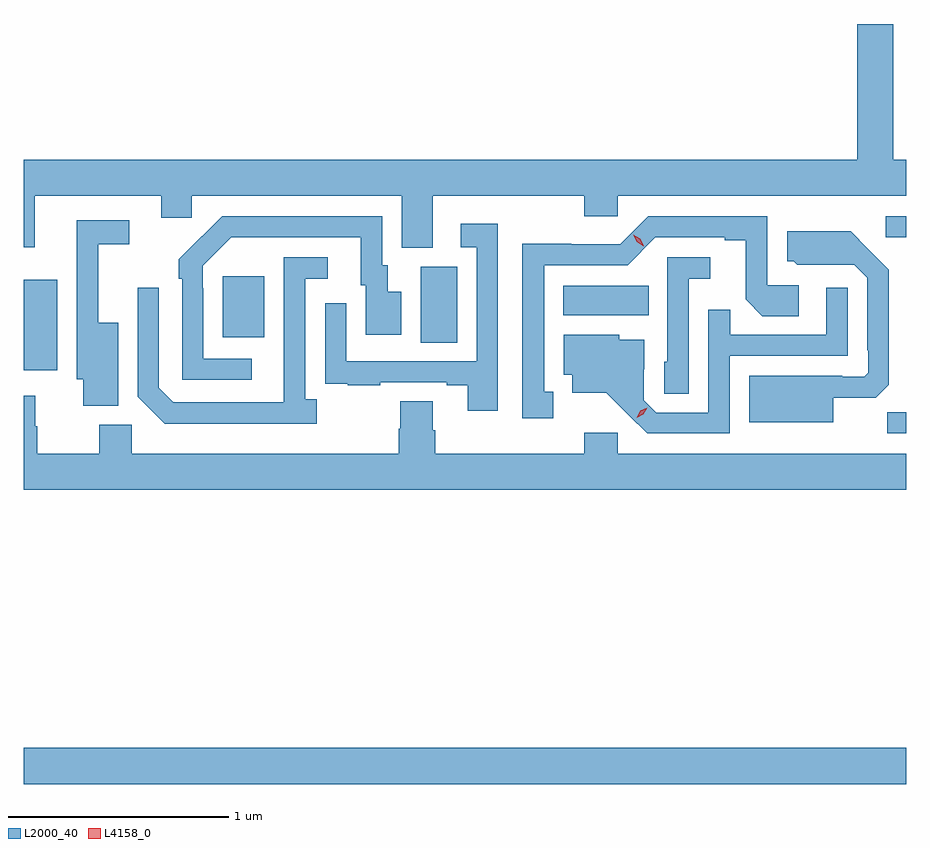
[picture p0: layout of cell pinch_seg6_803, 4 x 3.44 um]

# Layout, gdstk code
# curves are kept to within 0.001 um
import gdstk
lib = gdstk.Library(unit=1e-6, precision=1e-09)
def R(c, l, rs):  # rectangles x0, y0, x1, y1
    for r in rs: c.add(gdstk.rectangle(r[:2], r[2:], *l))
def P(c, l, *ps):  # polygons
    for p in ps: c.add(gdstk.Polygon(p, *l))
L2000_40 = (2000, 40)
L4158_0 = (4158, 0)

pinch_seg6_803 = lib.new_cell('pinch_seg6_803')
R(pinch_seg6_803, L2000_40, [(124.712,965.984,128.712,966.148), (128.626,967.572,128.712,967.667), (124.712,967.859,124.864,968.269), (126.512,967.984,126.676,968.328), (125.615,968.009,125.803,968.284), (127.157,968.108,127.544,968.242), (128.619,968.46,128.712,968.556)])
P(pinch_seg6_803, L2000_40, [(126.565,968.648),(127.253,968.648),(127.253,968.555),(127.404,968.555),(127.404,968.648),(128.712,968.648),(128.712,968.812),(128.653,968.812),(128.653,969.427),(128.489,969.427),(128.489,968.812),(124.712,968.812),(124.712,968.415),(124.763,968.415),(124.763,968.648),(125.336,968.648),(125.336,968.55),(125.475,968.55),(125.475,968.648),(126.425,968.648),(126.425,968.413),(126.565,968.413)],
  [(125.746,967.911),(125.526,967.911),(125.526,968.231),(125.523,968.231),(125.523,968.331),(125.652,968.46),(126.239,968.46),(126.239,968.244),(126.263,968.244),(126.263,968.019),(126.424,968.019),(126.424,968.215),(126.361,968.215),(126.361,968.334),(126.336,968.334),(126.336,968.556),(125.612,968.556),(125.415,968.361),(125.415,968.273),(125.43,968.273),(125.43,967.815),(125.746,967.815)],
  [(127.111,967.761),(127.072,967.761),(127.072,968.334),(127.449,968.334),(127.575,968.46),(127.889,968.46),(127.889,968.448),(127.983,968.448),(127.983,968.18),(128.059,968.104),(128.224,968.104),(128.224,968.244),(128.082,968.244),(128.082,968.556),(127.542,968.556),(127.416,968.43),(127.194,968.43),(127.194,968.432),(126.971,968.432),(126.971,967.641),(127.111,967.641)],
  [(125.14,968.074),(125.051,968.074),(125.051,968.43),(125.191,968.43),(125.191,968.538),(124.953,968.538),(124.953,967.817),(124.982,967.817),(124.982,967.698),(125.14,967.698)],
  [(126.861,968.521),(126.693,968.521),(126.693,968.415),(126.765,968.415),(126.765,967.899),(126.174,967.899),(126.174,968.161),(126.078,968.161),(126.078,967.906),(126.079,967.906),(126.079,967.797),(126.181,967.797),(126.181,967.791),(126.329,967.791),(126.329,967.803),(126.629,967.803),(126.629,967.791),(126.725,967.791),(126.725,967.674),(126.861,967.674)],
  [(128.38,967.733),(128.572,967.733),(128.631,967.792),(128.631,968.314),(128.459,968.488),(128.171,968.488),(128.171,968.352),(128.202,968.352),(128.218,968.336),(128.475,968.337),(128.535,968.277),(128.535,967.948),(128.538,967.948),(128.538,967.848),(128.52,967.83),(128.42,967.83),(128.42,967.834),(128,967.834),(128,967.622),(128.38,967.622)],
  [(127.725,968.273),(127.822,968.273),(127.822,968.37),(127.629,968.37),(127.629,967.896),(127.614,967.896),(127.614,967.753),(127.725,967.753)],
  [(126.04,967.726),(125.988,967.726),(125.988,968.274),(126.091,968.274),(126.091,968.37),(125.892,968.37),(125.891,967.713),(125.391,967.713),(125.325,967.779),(125.325,968.233),(125.229,968.233),(125.229,967.739),(125.352,967.616),(126.04,967.616)],
  [(127.911,967.923),(128.445,967.923),(128.445,968.233),(128.349,968.233),(128.349,968.019),(127.913,968.019),(127.913,968.132),(127.815,968.132),(127.815,967.665),(127.578,967.665),(127.521,967.722),(127.521,967.864),(127.525,967.864),(127.525,967.996),(127.41,967.996),(127.41,968.02),(127.16,968.02),(127.16,967.838),(127.199,967.838),(127.199,967.757),(127.351,967.757),(127.538,967.572),(127.911,967.572)],
  [(128.712,967.48),(127.404,967.48),(127.404,967.576),(127.253,967.576),(127.253,967.48),(126.578,967.48),(126.578,967.586),(126.565,967.586),(126.565,967.718),(126.418,967.718),(126.418,967.593),(126.413,967.593),(126.413,967.48),(125.202,967.48),(125.202,967.612),(125.056,967.612),(125.056,967.48),(124.774,967.48),(124.774,967.604),(124.764,967.604),(124.764,967.744),(124.712,967.744),(124.712,967.316),(128.712,967.316)])
P(pinch_seg6_803, L4158_0, [(127.49,967.644),(127.49,967.644),(127.506,967.674),(127.537,967.689),(127.537,967.689),(127.537,967.689),(127.52,967.66),(127.49,967.644)],
  [(127.522,968.421),(127.491,968.44),(127.474,968.473),(127.474,968.473),(127.474,968.473),(127.505,968.454),(127.522,968.421),(127.522,968.421)])

lib.write_gds('pinch_seg6_803.gds')
